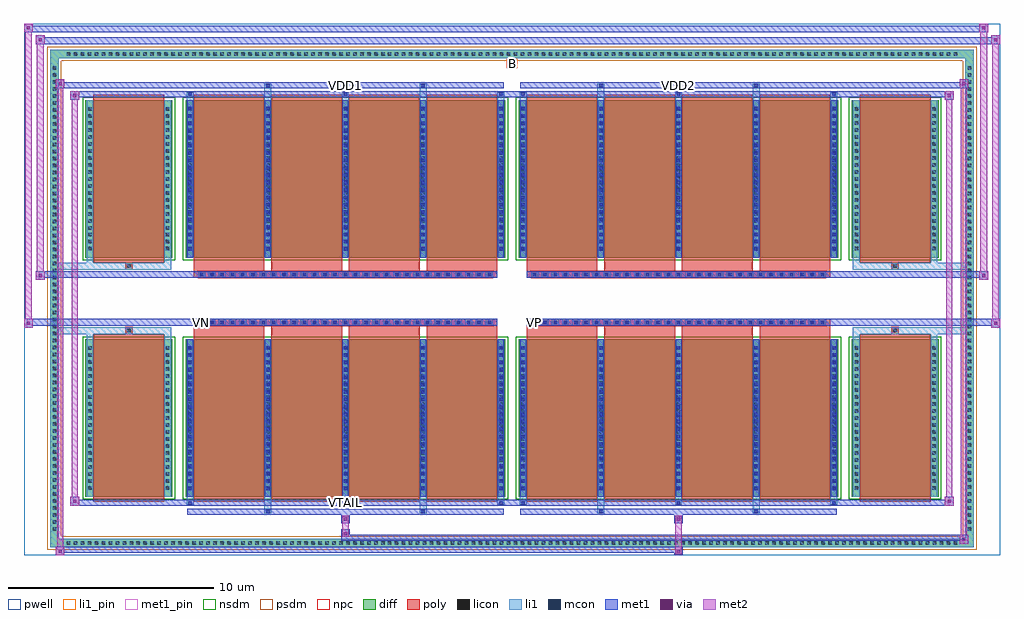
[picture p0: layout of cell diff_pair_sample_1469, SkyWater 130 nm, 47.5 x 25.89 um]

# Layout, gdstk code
import gdstk
lib = gdstk.Library(unit=1e-6, precision=5e-09)
def R(c, l, rs):  # rectangles x0, y0, x1, y1
    for r in rs: c.add(gdstk.rectangle(r[:2], r[2:], *l))
def A(c, l, x, y, w, h, nx, ny, dx, dy):  # array of equal rectangles
    R(c, l, [(x+i*dx, y+j*dy, x+i*dx+w, y+j*dy+h) for i in range(nx) for j in range(ny)])
def P(c, l, *ps):  # polygons
    for p in ps: c.add(gdstk.Polygon(p, *l))
pwell = (64, 44)
diff = (65, 20)
poly = (66, 20)
licon = (66, 44)
li1_pin = (67, 16)
li1 = (67, 20)
mcon = (67, 44)
met1_pin = (68, 16)
met1 = (68, 20)
via = (68, 44)
met2 = (69, 20)
nsdm = (93, 44)
psdm = (94, 20)
npc = (95, 20)

diff_pair_sample_1469 = lib.new_cell('diff_pair_sample_1469')
R(diff_pair_sample_1469, pwell, [(-23.75,-12.51,23.75,13.38), (-21.07,-10.7,-0.01,-0.8), (0.01,-10.7,21.07,-0.8), (-21.07,0.8,-0.01,10.7), (0.01,0.8,21.07,10.7)])
A(diff_pair_sample_1469, diff, -21.795, -12.11, 0.41, 0.41, 128, 2, 0.34, 23.81)
A(diff_pair_sample_1469, diff, -22.48, -11.425, 0.41, 0.41, 1, 67, 0, 0.34)
A(diff_pair_sample_1469, diff, 22.07, -11.425, 0.41, 0.41, 1, 67, 0, 0.34)
R(diff_pair_sample_1469, diff, [(-21.795,-12.11,21.795,-11.7), (-22.48,-11.425,-22.07,11.425), (22.07,-11.425,22.48,11.425), (-20.76,-9.655,-16.53,-1.985), (-15.89,-9.655,-0.32,-1.985), (0.32,-9.655,15.89,-1.985), (16.53,-9.655,20.76,-1.985), (-20.76,1.985,-16.53,9.655), (-15.89,1.985,-0.32,9.655), (0.32,1.985,15.89,9.655), (16.53,1.985,20.76,9.655), (-21.795,11.7,21.795,12.11)])
P(diff_pair_sample_1469, diff, [(22.48,12.11),(-22.48,12.11),(-22.48,-11.7),(-22.07,-11.7),(-22.07,11.7),(22.07,11.7),(22.07,-11.7),(-22.07,-11.7),(-22.48,-11.7),(-22.48,-12.11),(22.48,-12.11)])
A(diff_pair_sample_1469, poly, -15.5, -9.905, 3.45, 8.17, 4, 2, 3.78, 11.64)
A(diff_pair_sample_1469, poly, 0.71, -9.905, 3.45, 8.17, 4, 2, 3.78, 11.64)
A(diff_pair_sample_1469, poly, -15.5, -1.735, 3.45, 0.405, 4, 2, 3.78, 3.065)
A(diff_pair_sample_1469, poly, 0.71, -1.735, 3.45, 0.405, 4, 2, 3.78, 3.065)
A(diff_pair_sample_1469, poly, -15.27, -1.33, 0.33, 0.33, 29, 2, 0.5, 2.33)
A(diff_pair_sample_1469, poly, 0.94, -1.33, 0.33, 0.33, 29, 2, 0.5, 2.33)
R(diff_pair_sample_1469, poly, [(-20.37,-9.905,-16.92,-1.735), (16.92,-9.905,20.37,-1.735), (-18.81,-1.735,-18.48,-1.405), (-18.81,-1.735,-18.48,-1.405), (18.48,-1.735,18.81,-1.405), (18.48,-1.735,18.81,-1.405), (-15.5,-1.33,-0.71,-1), (0.71,-1.33,15.5,-1), (-15.5,1,-0.71,1.33), (0.71,1,15.5,1.33), (-18.81,1.405,-18.48,1.735), (-18.81,1.405,-18.48,1.735), (18.48,1.405,18.81,1.735), (18.48,1.405,18.81,1.735), (-20.37,1.735,-16.92,9.905), (16.92,1.735,20.37,9.905)])
A(diff_pair_sample_1469, licon, -21.675, -11.99, 0.17, 0.17, 128, 2, 0.34, 23.81)
A(diff_pair_sample_1469, licon, -22.36, -11.305, 0.17, 0.17, 1, 67, 0, 0.34)
A(diff_pair_sample_1469, licon, 22.19, -11.305, 0.17, 0.17, 1, 67, 0, 0.34)
A(diff_pair_sample_1469, licon, -20.62, -9.305, 0.17, 0.17, 1, 21, 0, 0.34)
A(diff_pair_sample_1469, licon, -16.84, -9.305, 0.17, 0.17, 1, 21, 0, 0.34)
A(diff_pair_sample_1469, licon, -15.75, -9.305, 0.17, 0.17, 5, 21, 3.78, 0.34)
A(diff_pair_sample_1469, licon, 0.46, -9.305, 0.17, 0.17, 5, 21, 3.78, 0.34)
A(diff_pair_sample_1469, licon, 16.67, -9.305, 0.17, 0.17, 1, 21, 0, 0.34)
A(diff_pair_sample_1469, licon, 20.45, -9.305, 0.17, 0.17, 1, 21, 0, 0.34)
A(diff_pair_sample_1469, licon, -15.19, -1.25, 0.17, 0.17, 29, 2, 0.5, 2.33)
A(diff_pair_sample_1469, licon, 1.02, -1.25, 0.17, 0.17, 29, 2, 0.5, 2.33)
A(diff_pair_sample_1469, licon, -20.62, 2.335, 0.17, 0.17, 1, 21, 0, 0.34)
A(diff_pair_sample_1469, licon, -16.84, 2.335, 0.17, 0.17, 1, 21, 0, 0.34)
A(diff_pair_sample_1469, licon, -15.75, 2.335, 0.17, 0.17, 5, 21, 3.78, 0.34)
A(diff_pair_sample_1469, licon, 0.46, 2.335, 0.17, 0.17, 5, 21, 3.78, 0.34)
A(diff_pair_sample_1469, licon, 16.67, 2.335, 0.17, 0.17, 1, 21, 0, 0.34)
A(diff_pair_sample_1469, licon, 20.45, 2.335, 0.17, 0.17, 1, 21, 0, 0.34)
R(diff_pair_sample_1469, licon, [(-18.73,-1.655,-18.56,-1.485), (18.56,-1.655,18.73,-1.485), (-18.73,1.485,-18.56,1.655), (18.56,1.485,18.73,1.655)])
R(diff_pair_sample_1469, li1_pin, [(-0.25,11.2,0.25,11.7)])
A(diff_pair_sample_1469, li1, -21.755, -12.07, 0.33, 0.33, 128, 2, 0.34, 23.81)
A(diff_pair_sample_1469, li1, -22.44, -11.385, 0.33, 0.33, 1, 67, 0, 0.34)
A(diff_pair_sample_1469, li1, 22.11, -11.385, 0.33, 0.33, 1, 67, 0, 0.34)
A(diff_pair_sample_1469, li1, -15.83, -10.03, 0.33, 0.375, 3, 2, 7.56, 19.685)
A(diff_pair_sample_1469, li1, -15.75, -10.03, 0.17, 0.17, 3, 2, 7.56, 19.89)
A(diff_pair_sample_1469, li1, 0.38, -10.03, 0.33, 0.375, 3, 2, 7.56, 19.685)
A(diff_pair_sample_1469, li1, 0.46, -10.03, 0.17, 0.17, 3, 2, 7.56, 19.89)
A(diff_pair_sample_1469, li1, -15.83, -9.655, 0.33, 7.67, 5, 2, 3.78, 11.64)
A(diff_pair_sample_1469, li1, 0.38, -9.655, 0.33, 7.67, 5, 2, 3.78, 11.64)
A(diff_pair_sample_1469, li1, -20.7, -9.385, 0.33, 0.33, 1, 21, 0, 0.34)
A(diff_pair_sample_1469, li1, -16.92, -9.385, 0.33, 0.33, 1, 21, 0, 0.34)
A(diff_pair_sample_1469, li1, -15.83, -9.385, 0.33, 0.33, 5, 21, 3.78, 0.34)
A(diff_pair_sample_1469, li1, 0.38, -9.385, 0.33, 0.33, 5, 21, 3.78, 0.34)
A(diff_pair_sample_1469, li1, 16.59, -9.385, 0.33, 0.33, 1, 21, 0, 0.34)
A(diff_pair_sample_1469, li1, 20.37, -9.385, 0.33, 0.33, 1, 21, 0, 0.34)
A(diff_pair_sample_1469, li1, -15.75, -9.325, 0.17, 0.17, 5, 20, 3.78, 0.36)
A(diff_pair_sample_1469, li1, -15.75, -9.325, 0.17, 7.01, 5, 2, 3.78, 11.64)
A(diff_pair_sample_1469, li1, 0.46, -9.325, 0.17, 0.17, 5, 20, 3.78, 0.36)
A(diff_pair_sample_1469, li1, 0.46, -9.325, 0.17, 7.01, 5, 2, 3.78, 11.64)
A(diff_pair_sample_1469, li1, -15.27, -1.33, 0.33, 0.33, 29, 2, 0.5, 2.33)
A(diff_pair_sample_1469, li1, 0.94, -1.33, 0.33, 0.33, 29, 2, 0.5, 2.33)
A(diff_pair_sample_1469, li1, -20.7, 2.255, 0.33, 0.33, 1, 21, 0, 0.34)
A(diff_pair_sample_1469, li1, -16.92, 2.255, 0.33, 0.33, 1, 21, 0, 0.34)
A(diff_pair_sample_1469, li1, -15.83, 2.255, 0.33, 0.33, 5, 21, 3.78, 0.34)
A(diff_pair_sample_1469, li1, 0.38, 2.255, 0.33, 0.33, 5, 21, 3.78, 0.34)
A(diff_pair_sample_1469, li1, 16.59, 2.255, 0.33, 0.33, 1, 21, 0, 0.34)
A(diff_pair_sample_1469, li1, 20.37, 2.255, 0.33, 0.33, 1, 21, 0, 0.34)
A(diff_pair_sample_1469, li1, -15.75, 2.315, 0.17, 0.17, 5, 20, 3.78, 0.36)
A(diff_pair_sample_1469, li1, 0.46, 2.315, 0.17, 0.17, 5, 20, 3.78, 0.36)
R(diff_pair_sample_1469, li1, [(-22.48,-12.11,-22.07,-11.7), (-22.48,-12.11,-22.07,-11.7), (-22.07,-12.11,22.07,-11.7), (22.07,-12.11,22.48,-11.7), (22.07,-12.11,22.48,-11.7), (-22.48,-11.7,-22.07,11.7), (22.07,-11.7,22.48,11.7), (-12.05,-10.46,-11.72,-9.655), (-11.97,-10.46,-11.8,-10.29), (-4.49,-10.46,-4.16,-9.655), (-4.41,-10.46,-4.24,-10.29), (4.16,-10.46,4.49,-9.655), (4.24,-10.46,4.41,-10.29), (11.72,-10.46,12.05,-9.655), (11.8,-10.46,11.97,-10.29), (-20.7,-9.655,-20.37,-1.985), (-16.92,-9.655,-16.59,-1.985), (16.59,-9.655,16.92,-1.985), (20.37,-9.655,20.7,-1.985), (-20.7,-1.985,-20.37,-1.405), (-16.92,-1.985,-16.59,-1.405), (16.59,-1.985,16.92,-1.405), (20.37,-1.985,20.7,-1.405), (-22.48,-1.735,-18.81,-1.405), (-20.7,-1.735,-18.81,-1.405), (-18.81,-1.735,-18.48,-1.405), (-18.48,-1.735,-16.59,-1.405), (16.59,-1.735,18.48,-1.405), (18.48,-1.735,18.81,-1.405), (18.48,-1.735,22.48,-1.405), (18.81,-1.735,20.7,-1.405), (-22.48,1.405,-18.81,1.735), (-20.7,1.405,-18.81,1.735), (-20.7,1.405,-20.37,1.985), (-18.81,1.405,-18.48,1.735), (-18.48,1.405,-16.59,1.735), (-16.92,1.405,-16.59,1.985), (16.59,1.405,18.48,1.735), (16.59,1.405,16.92,1.985), (18.48,1.405,18.81,1.735), (18.48,1.405,22.48,1.735), (18.81,1.405,20.7,1.735), (20.37,1.405,20.7,1.985), (-20.7,1.985,-20.37,9.655), (-16.92,1.985,-16.59,9.655), (16.59,1.985,16.92,9.655), (20.37,1.985,20.7,9.655), (-12.05,9.655,-11.72,10.46), (-4.49,9.655,-4.16,10.46), (4.16,9.655,4.49,10.46), (11.72,9.655,12.05,10.46), (-11.97,10.29,-11.8,10.46), (-4.41,10.29,-4.24,10.46), (4.24,10.29,4.41,10.46), (11.8,10.29,11.97,10.46), (-22.48,11.7,-22.07,12.11), (-22.48,11.7,-22.07,12.11), (-22.07,11.7,22.07,12.11), (22.07,11.7,22.48,12.11), (22.07,11.7,22.48,12.11)])
A(diff_pair_sample_1469, mcon, -15.75, -10.03, 0.17, 0.17, 3, 2, 7.56, 19.89)
A(diff_pair_sample_1469, mcon, 0.46, -10.03, 0.17, 0.17, 3, 2, 7.56, 19.89)
A(diff_pair_sample_1469, mcon, -15.75, -9.325, 0.17, 0.17, 5, 20, 3.78, 0.36)
A(diff_pair_sample_1469, mcon, 0.46, -9.325, 0.17, 0.17, 5, 20, 3.78, 0.36)
A(diff_pair_sample_1469, mcon, -15.19, -1.25, 0.17, 0.17, 29, 2, 0.5, 2.33)
A(diff_pair_sample_1469, mcon, 1.02, -1.25, 0.17, 0.17, 29, 2, 0.5, 2.33)
A(diff_pair_sample_1469, mcon, -15.75, 2.315, 0.17, 0.17, 5, 20, 3.78, 0.36)
A(diff_pair_sample_1469, mcon, 0.46, 2.315, 0.17, 0.17, 5, 20, 3.78, 0.36)
R(diff_pair_sample_1469, mcon, [(-11.97,-10.46,-11.8,-10.29), (-4.41,-10.46,-4.24,-10.29), (4.24,-10.46,4.41,-10.29), (11.8,-10.46,11.97,-10.29), (-11.97,10.29,-11.8,10.46), (-4.41,10.29,-4.24,10.46), (4.24,10.29,4.41,10.46), (11.8,10.29,11.97,10.46)])
R(diff_pair_sample_1469, met1_pin, [(-8.24,-10.07,-7.97,-9.8), (-15.24,-1.29,-14.97,-1.02), (0.97,-1.29,1.24,-1.02), (-8.24,10.25,-7.97,10.52), (7.97,10.25,8.24,10.52)])
A(diff_pair_sample_1469, met1, -15.81, -10.09, 0.29, 0.29, 3, 2, 7.56, 19.89)
A(diff_pair_sample_1469, met1, 0.4, -10.09, 0.29, 0.29, 3, 2, 7.56, 19.89)
A(diff_pair_sample_1469, met1, -15.81, -9.655, 0.29, 7.67, 5, 2, 3.78, 11.64)
A(diff_pair_sample_1469, met1, 0.4, -9.655, 0.29, 7.67, 5, 2, 3.78, 11.64)
A(diff_pair_sample_1469, met1, -15.81, -9.385, 0.29, 0.29, 5, 20, 3.78, 0.36)
A(diff_pair_sample_1469, met1, 0.4, -9.385, 0.29, 0.29, 5, 20, 3.78, 0.36)
A(diff_pair_sample_1469, met1, -15.25, -1.31, 0.29, 0.29, 29, 2, 0.5, 2.33)
A(diff_pair_sample_1469, met1, 0.96, -1.31, 0.29, 0.29, 29, 2, 0.5, 2.33)
A(diff_pair_sample_1469, met1, -15.81, 2.255, 0.29, 0.29, 5, 20, 3.78, 0.36)
A(diff_pair_sample_1469, met1, 0.4, 2.255, 0.29, 0.29, 5, 20, 3.78, 0.36)
R(diff_pair_sample_1469, met1, [(-22.21,-12.51,-21.78,-12.08), (7.89,-12.51,8.32,-12.08), (-22.21,-12.37,8.32,-12.08), (21.78,-11.94,22.21,-11.51), (-8.32,-11.8,22.21,-11.51), (-8.32,-11.66,-7.89,-11.23), (-8.32,-10.95,-7.89,-10.52), (7.89,-10.95,8.32,-10.52), (-15.81,-10.52,-0.4,-10.23), (-12.03,-10.52,-11.74,-10.23), (-4.47,-10.52,-4.18,-10.23), (0.4,-10.52,15.81,-10.23), (4.18,-10.52,4.47,-10.23), (11.74,-10.52,12.03,-10.23), (-21.5,-10.09,-21.07,-9.66), (-21.5,-10.09,-15.81,-9.8), (-15.81,-10.09,-0.4,-9.8), (-0.4,-10.09,0.4,-9.8), (0.4,-10.09,15.81,-9.8), (15.81,-10.09,21.5,-9.8), (21.07,-10.09,21.5,-9.66), (-23.75,-1.43,-23.32,-1), (23.32,-1.43,23.75,-1), (-23.75,-1.33,-0.71,-1), (-15.5,-1.33,-0.71,-1), (0.71,-1.33,15.5,-1), (0.71,-1.33,23.75,-1), (-23.18,0.9,-22.75,1.33), (22.75,0.9,23.18,1.33), (-23.18,1,-15.5,1.33), (-15.5,1,-0.71,1.33), (0.71,1,15.5,1.33), (15.5,1,23.18,1.33), (-21.5,9.66,-21.07,10.09), (21.07,9.66,21.5,10.09), (-21.5,9.8,-15.81,10.09), (-15.81,9.8,-0.4,10.09), (-0.4,9.8,0.4,10.09), (0.4,9.8,15.81,10.09), (15.81,9.8,21.5,10.09), (-22.21,10.23,-21.78,10.66), (-22.21,10.23,-15.81,10.52), (-15.81,10.23,-0.4,10.52), (-12.03,10.23,-11.74,10.52), (-4.47,10.23,-4.18,10.52), (0.4,10.23,15.81,10.52), (4.18,10.23,4.47,10.52), (11.74,10.23,12.03,10.52), (15.81,10.23,22.21,10.52), (21.78,10.23,22.21,10.66), (-23.18,12.38,-22.75,12.81), (-23.18,12.38,-21.07,12.71), (-21.07,12.38,21.07,12.71), (21.07,12.38,23.75,12.71), (23.32,12.38,23.75,12.81), (-23.75,12.95,-23.32,13.38), (-23.75,12.95,-21.07,13.28), (-21.07,12.95,21.07,13.28), (21.07,12.95,23.18,13.28), (22.75,12.95,23.18,13.38)])
R(diff_pair_sample_1469, via, [(-22.07,-12.37,-21.92,-12.22), (8.03,-12.37,8.18,-12.22), (21.92,-11.8,22.07,-11.65), (-8.18,-11.52,-8.03,-11.37), (-8.18,-10.81,-8.03,-10.66), (8.03,-10.81,8.18,-10.66), (-21.36,-9.95,-21.21,-9.8), (21.21,-9.95,21.36,-9.8), (-23.61,-1.29,-23.46,-1.14), (23.46,-1.29,23.61,-1.14), (-23.04,1.04,-22.89,1.19), (22.89,1.04,23.04,1.19), (-21.36,9.8,-21.21,9.95), (21.21,9.8,21.36,9.95), (-22.07,10.37,-21.92,10.52), (21.92,10.37,22.07,10.52), (-23.04,12.52,-22.89,12.67), (23.46,12.52,23.61,12.67), (-23.61,13.09,-23.46,13.24), (22.89,13.09,23.04,13.24)])
R(diff_pair_sample_1469, met2, [(-22.21,-12.51,-21.78,-12.08), (-22.14,-12.51,-21.85,10.66), (-21.85,-12.51,-21.78,-12.08), (-22.16,-12.46,-21.83,-12.13), (7.94,-12.46,8.27,-12.13), (7.94,-12.13,8.27,-10.9), (21.78,-11.94,22.21,-11.51), (21.85,-11.94,22.14,10.66), (22.14,-11.94,22.21,-11.51), (21.83,-11.89,22.16,-11.56), (-8.27,-11.61,-7.94,-11.28), (-8.27,-11.28,-7.94,-10.9), (-8.27,-10.9,-7.94,-10.57), (7.94,-10.9,8.27,-10.57), (-21.5,-10.09,-21.07,-9.66), (-21.43,-10.09,-21.14,10.09), (-21.14,-10.09,-21.07,-9.66), (21.07,-10.09,21.5,-9.66), (21.14,-10.09,21.43,10.09), (21.43,-10.09,21.5,-9.66), (-21.45,-10.04,-21.12,-9.71), (21.12,-10.04,21.45,-9.71), (-23.75,-1.43,-23.32,-1), (-23.7,-1.43,-23.37,13.38), (-23.37,-1.43,-23.32,-1), (23.32,-1.43,23.75,-1), (23.37,-1.43,23.7,12.81), (23.7,-1.43,23.75,-1), (-23.7,-1.38,-23.37,-1.05), (23.37,-1.38,23.7,-1.05), (-23.18,0.9,-22.75,1.33), (-23.13,0.9,-22.8,12.81), (-22.8,0.9,-22.75,1.33), (22.75,0.9,23.18,1.33), (22.8,0.9,23.13,13.38), (23.13,0.9,23.18,1.33), (-23.13,0.95,-22.8,1.28), (22.8,0.95,23.13,1.28), (-21.5,9.66,-21.07,10.09), (-21.14,9.66,-21.07,10.09), (21.07,9.66,21.5,10.09), (21.43,9.66,21.5,10.09), (-21.45,9.71,-21.12,10.04), (21.12,9.71,21.45,10.04), (-22.21,10.23,-21.78,10.66), (-21.85,10.23,-21.78,10.66), (21.78,10.23,22.21,10.66), (22.14,10.23,22.21,10.66), (-22.16,10.28,-21.83,10.61), (21.83,10.28,22.16,10.61), (-23.18,12.38,-22.75,12.81), (-22.8,12.38,-22.75,12.81), (23.32,12.38,23.75,12.81), (23.7,12.38,23.75,12.81), (-23.13,12.43,-22.8,12.76), (23.37,12.43,23.7,12.76), (-23.75,12.95,-23.32,13.38), (-23.37,12.95,-23.32,13.38), (22.75,12.95,23.18,13.38), (23.13,12.95,23.18,13.38), (-23.7,13,-23.37,13.33), (22.8,13,23.13,13.33)])
R(diff_pair_sample_1469, nsdm, [(-20.89,-9.785,-16.4,-1.855), (-16.02,-9.785,-0.19,-1.855), (0.19,-9.785,16.02,-1.855), (16.4,-9.785,20.89,-1.855), (-20.89,1.855,-16.4,9.785), (-16.02,1.855,-0.19,9.785), (0.19,1.855,16.02,9.785), (16.4,1.855,20.89,9.785)])
P(diff_pair_sample_1469, psdm, [(22.61,12.24),(-22.61,12.24),(-22.61,-11.57),(-21.94,-11.57),(-21.94,11.57),(21.94,11.57),(21.94,-11.57),(-21.94,-11.57),(-22.61,-11.57),(-22.61,-12.24),(22.61,-12.24)])
A(diff_pair_sample_1469, npc, -15.29, -1.35, 0.37, 0.37, 29, 2, 0.5, 2.33)
A(diff_pair_sample_1469, npc, 0.92, -1.35, 0.37, 0.37, 29, 2, 0.5, 2.33)
R(diff_pair_sample_1469, npc, [(-18.83,-1.755,-18.46,-1.385), (18.46,-1.755,18.83,-1.385), (-15.29,-1.35,-14.42,-0.98), (-15.29,-1.35,-14.42,-0.98), (-14.79,-1.35,-13.92,-0.98), (-14.79,-1.35,-13.92,-0.98), (-14.29,-1.35,-13.42,-0.98), (-14.29,-1.35,-13.42,-0.98), (-13.79,-1.35,-12.92,-0.98), (-13.79,-1.35,-12.92,-0.98), (-13.29,-1.35,-12.42,-0.98), (-13.29,-1.35,-12.42,-0.98), (-12.79,-1.35,-11.92,-0.98), (-12.79,-1.35,-11.92,-0.98), (-12.29,-1.35,-11.42,-0.98), (-12.29,-1.35,-11.42,-0.98), (-11.79,-1.35,-10.92,-0.98), (-11.79,-1.35,-10.92,-0.98), (-11.29,-1.35,-10.42,-0.98), (-11.29,-1.35,-10.42,-0.98), (-10.79,-1.35,-9.92,-0.98), (-10.79,-1.35,-9.92,-0.98), (-10.29,-1.35,-9.42,-0.98), (-10.29,-1.35,-9.42,-0.98), (-9.79,-1.35,-8.92,-0.98), (-9.79,-1.35,-8.92,-0.98), (-9.29,-1.35,-8.42,-0.98), (-9.29,-1.35,-8.42,-0.98), (-8.79,-1.35,-7.92,-0.98), (-8.79,-1.35,-7.92,-0.98), (-8.29,-1.35,-7.42,-0.98), (-8.29,-1.35,-7.42,-0.98), (-7.79,-1.35,-6.92,-0.98), (-7.79,-1.35,-6.92,-0.98), (-7.29,-1.35,-6.42,-0.98), (-7.29,-1.35,-6.42,-0.98), (-6.79,-1.35,-5.92,-0.98), (-6.79,-1.35,-5.92,-0.98), (-6.29,-1.35,-5.42,-0.98), (-6.29,-1.35,-5.42,-0.98), (-5.79,-1.35,-4.92,-0.98), (-5.79,-1.35,-4.92,-0.98), (-5.29,-1.35,-4.42,-0.98), (-5.29,-1.35,-4.42,-0.98), (-4.79,-1.35,-3.92,-0.98), (-4.79,-1.35,-3.92,-0.98), (-4.29,-1.35,-3.42,-0.98), (-4.29,-1.35,-3.42,-0.98), (-3.79,-1.35,-2.92,-0.98), (-3.79,-1.35,-2.92,-0.98), (-3.29,-1.35,-2.42,-0.98), (-3.29,-1.35,-2.42,-0.98), (-2.79,-1.35,-1.92,-0.98), (-2.79,-1.35,-1.92,-0.98), (-2.29,-1.35,-1.42,-0.98), (-2.29,-1.35,-1.42,-0.98), (-1.79,-1.35,-0.92,-0.98), (-1.79,-1.35,-0.92,-0.98), (0.92,-1.35,1.79,-0.98), (0.92,-1.35,1.79,-0.98), (1.42,-1.35,2.29,-0.98), (1.42,-1.35,2.29,-0.98), (1.92,-1.35,2.79,-0.98), (1.92,-1.35,2.79,-0.98), (2.42,-1.35,3.29,-0.98), (2.42,-1.35,3.29,-0.98), (2.92,-1.35,3.79,-0.98), (2.92,-1.35,3.79,-0.98), (3.42,-1.35,4.29,-0.98), (3.42,-1.35,4.29,-0.98), (3.92,-1.35,4.79,-0.98), (3.92,-1.35,4.79,-0.98), (4.42,-1.35,5.29,-0.98), (4.42,-1.35,5.29,-0.98), (4.92,-1.35,5.79,-0.98), (4.92,-1.35,5.79,-0.98), (5.42,-1.35,6.29,-0.98), (5.42,-1.35,6.29,-0.98), (5.92,-1.35,6.79,-0.98), (5.92,-1.35,6.79,-0.98), (6.42,-1.35,7.29,-0.98), (6.42,-1.35,7.29,-0.98), (6.92,-1.35,7.79,-0.98), (6.92,-1.35,7.79,-0.98), (7.42,-1.35,8.29,-0.98), (7.42,-1.35,8.29,-0.98), (7.92,-1.35,8.79,-0.98), (7.92,-1.35,8.79,-0.98), (8.42,-1.35,9.29,-0.98), (8.42,-1.35,9.29,-0.98), (8.92,-1.35,9.79,-0.98), (8.92,-1.35,9.79,-0.98), (9.42,-1.35,10.29,-0.98), (9.42,-1.35,10.29,-0.98), (9.92,-1.35,10.79,-0.98), (9.92,-1.35,10.79,-0.98), (10.42,-1.35,11.29,-0.98), (10.42,-1.35,11.29,-0.98), (10.92,-1.35,11.79,-0.98), (10.92,-1.35,11.79,-0.98), (11.42,-1.35,12.29,-0.98), (11.42,-1.35,12.29,-0.98), (11.92,-1.35,12.79,-0.98), (11.92,-1.35,12.79,-0.98), (12.42,-1.35,13.29,-0.98), (12.42,-1.35,13.29,-0.98), (12.92,-1.35,13.79,-0.98), (12.92,-1.35,13.79,-0.98), (13.42,-1.35,14.29,-0.98), (13.42,-1.35,14.29,-0.98), (13.92,-1.35,14.79,-0.98), (13.92,-1.35,14.79,-0.98), (14.42,-1.35,15.29,-0.98), (14.42,-1.35,15.29,-0.98), (-15.29,0.98,-14.42,1.35), (-15.29,0.98,-14.42,1.35), (-14.79,0.98,-13.92,1.35), (-14.79,0.98,-13.92,1.35), (-14.29,0.98,-13.42,1.35), (-14.29,0.98,-13.42,1.35), (-13.79,0.98,-12.92,1.35), (-13.79,0.98,-12.92,1.35), (-13.29,0.98,-12.42,1.35), (-13.29,0.98,-12.42,1.35), (-12.79,0.98,-11.92,1.35), (-12.79,0.98,-11.92,1.35), (-12.29,0.98,-11.42,1.35), (-12.29,0.98,-11.42,1.35), (-11.79,0.98,-10.92,1.35), (-11.79,0.98,-10.92,1.35), (-11.29,0.98,-10.42,1.35), (-11.29,0.98,-10.42,1.35), (-10.79,0.98,-9.92,1.35), (-10.79,0.98,-9.92,1.35), (-10.29,0.98,-9.42,1.35), (-10.29,0.98,-9.42,1.35), (-9.79,0.98,-8.92,1.35), (-9.79,0.98,-8.92,1.35), (-9.29,0.98,-8.42,1.35), (-9.29,0.98,-8.42,1.35), (-8.79,0.98,-7.92,1.35), (-8.79,0.98,-7.92,1.35), (-8.29,0.98,-7.42,1.35), (-8.29,0.98,-7.42,1.35), (-7.79,0.98,-6.92,1.35), (-7.79,0.98,-6.92,1.35), (-7.29,0.98,-6.42,1.35), (-7.29,0.98,-6.42,1.35), (-6.79,0.98,-5.92,1.35), (-6.79,0.98,-5.92,1.35), (-6.29,0.98,-5.42,1.35), (-6.29,0.98,-5.42,1.35), (-5.79,0.98,-4.92,1.35), (-5.79,0.98,-4.92,1.35), (-5.29,0.98,-4.42,1.35), (-5.29,0.98,-4.42,1.35), (-4.79,0.98,-3.92,1.35), (-4.79,0.98,-3.92,1.35), (-4.29,0.98,-3.42,1.35), (-4.29,0.98,-3.42,1.35), (-3.79,0.98,-2.92,1.35), (-3.79,0.98,-2.92,1.35), (-3.29,0.98,-2.42,1.35), (-3.29,0.98,-2.42,1.35), (-2.79,0.98,-1.92,1.35), (-2.79,0.98,-1.92,1.35), (-2.29,0.98,-1.42,1.35), (-2.29,0.98,-1.42,1.35), (-1.79,0.98,-0.92,1.35), (-1.79,0.98,-0.92,1.35), (0.92,0.98,1.79,1.35), (0.92,0.98,1.79,1.35), (1.42,0.98,2.29,1.35), (1.42,0.98,2.29,1.35), (1.92,0.98,2.79,1.35), (1.92,0.98,2.79,1.35), (2.42,0.98,3.29,1.35), (2.42,0.98,3.29,1.35), (2.92,0.98,3.79,1.35), (2.92,0.98,3.79,1.35), (3.42,0.98,4.29,1.35), (3.42,0.98,4.29,1.35), (3.92,0.98,4.79,1.35), (3.92,0.98,4.79,1.35), (4.42,0.98,5.29,1.35), (4.42,0.98,5.29,1.35), (4.92,0.98,5.79,1.35), (4.92,0.98,5.79,1.35), (5.42,0.98,6.29,1.35), (5.42,0.98,6.29,1.35), (5.92,0.98,6.79,1.35), (5.92,0.98,6.79,1.35), (6.42,0.98,7.29,1.35), (6.42,0.98,7.29,1.35), (6.92,0.98,7.79,1.35), (6.92,0.98,7.79,1.35), (7.42,0.98,8.29,1.35), (7.42,0.98,8.29,1.35), (7.92,0.98,8.79,1.35), (7.92,0.98,8.79,1.35), (8.42,0.98,9.29,1.35), (8.42,0.98,9.29,1.35), (8.92,0.98,9.79,1.35), (8.92,0.98,9.79,1.35), (9.42,0.98,10.29,1.35), (9.42,0.98,10.29,1.35), (9.92,0.98,10.79,1.35), (9.92,0.98,10.79,1.35), (10.42,0.98,11.29,1.35), (10.42,0.98,11.29,1.35), (10.92,0.98,11.79,1.35), (10.92,0.98,11.79,1.35), (11.42,0.98,12.29,1.35), (11.42,0.98,12.29,1.35), (11.92,0.98,12.79,1.35), (11.92,0.98,12.79,1.35), (12.42,0.98,13.29,1.35), (12.42,0.98,13.29,1.35), (12.92,0.98,13.79,1.35), (12.92,0.98,13.79,1.35), (13.42,0.98,14.29,1.35), (13.42,0.98,14.29,1.35), (13.92,0.98,14.79,1.35), (13.92,0.98,14.79,1.35), (14.42,0.98,15.29,1.35), (14.42,0.98,15.29,1.35), (-18.83,1.385,-18.46,1.755), (18.46,1.385,18.83,1.755)])
diff_pair_sample_1469.add(gdstk.Label('VTAIL', (-8.105,-9.935), layer=68, texttype=5))
diff_pair_sample_1469.add(gdstk.Label('VN', (-15.105,-1.155), layer=68, texttype=5))
diff_pair_sample_1469.add(gdstk.Label('VP', (1.105,-1.155), layer=68, texttype=5))
diff_pair_sample_1469.add(gdstk.Label('B', (0,11.45), layer=67, texttype=5))
diff_pair_sample_1469.add(gdstk.Label('VDD2', (8.105,10.385), layer=68, texttype=5))
diff_pair_sample_1469.add(gdstk.Label('VDD1', (-8.105,10.385), layer=68, texttype=5))

lib.write_gds('diff_pair_sample_1469.gds')
